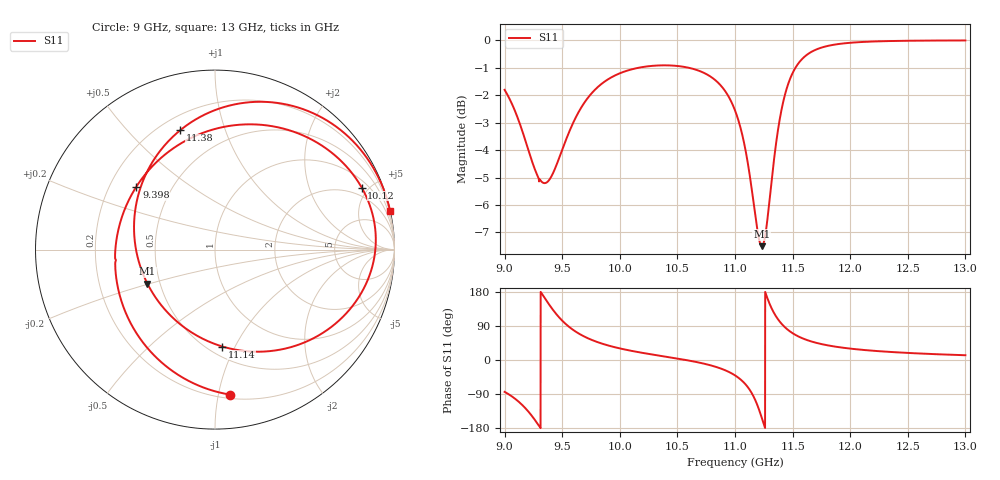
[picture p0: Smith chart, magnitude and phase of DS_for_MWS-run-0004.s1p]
! TOUCHSTONE file generated by CST DESIGN STUDIO
! Date and time: Tue Feb  4 17:20:09 2025
! Project name: C:\Work\MatlabApps\UnitCellOptimizationMatlab\CST\unitcell.cst
! Tree item: Tasks\Sweep1\SPara1\S-Parameters
! Header version: 2024
! Port assignment regex: !\s*Touchstone port\s*([0-9]+)\s*=\s*(CST MWS port|CST DES external port|CST DES block port)\s*(.+)\s* \(\"(.*)\"\)(\s*mode\s*([0-9]+))?.*
! Touchstone port assignment:
! Touchstone port 1 = CST DES external port 1 ("")
# GHz S MA R 50
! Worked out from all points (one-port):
!   4001 points, 9 GHz to 13 GHz, reference 50 ohm
!   lowest |S11| = -7.5 dB at 11.23 GHz (marker M1), VSWR 2.46, Z = 21.3 - j9.87 ohm
!   |S11| at or under -10 dB: nowhere
!   S11 on the Smith chart (normalised r, x): 9 GHz: 0.23, -1.08; 9.398 GHz: 0.31, +0.32; 10.12 GHz: 1.39, +4.52; 11.14 GHz: 0.58, -0.89; 11.38 GHz: 0.28, +0.71; 13 GHz: 0.03, +9.09
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9  0.8124 -84.1
9.127  0.7095 -111.3
9.246  0.595 -151.2
9.322  0.5523 175.6
9.398  0.5611 141.4
9.5  0.6317 103.8
9.6  0.711 78.3
9.732  0.79 56.2
9.855  0.8371 42.3
10  0.8707 30.6
10.122  0.8873 22.9
10.5  0.8979 3.8
10.81  0.8522 -15.9
10.915  0.8079 -27.1
11  0.7453 -40.5
11.071  0.6616 -57.7
11.142  0.5416 -85.6
11.187  0.4616 -113.6
11.233  0.4216 -153.1
11.298  0.507 150.0
11.376  0.6926 106.3
11.431  0.792 87.1
11.5  0.8716 70.7
11.588  0.927 57.0
11.693  0.9596 46.3
12  0.9897 30.1
12.5  0.9981 18.7
13  0.9994 12.6
